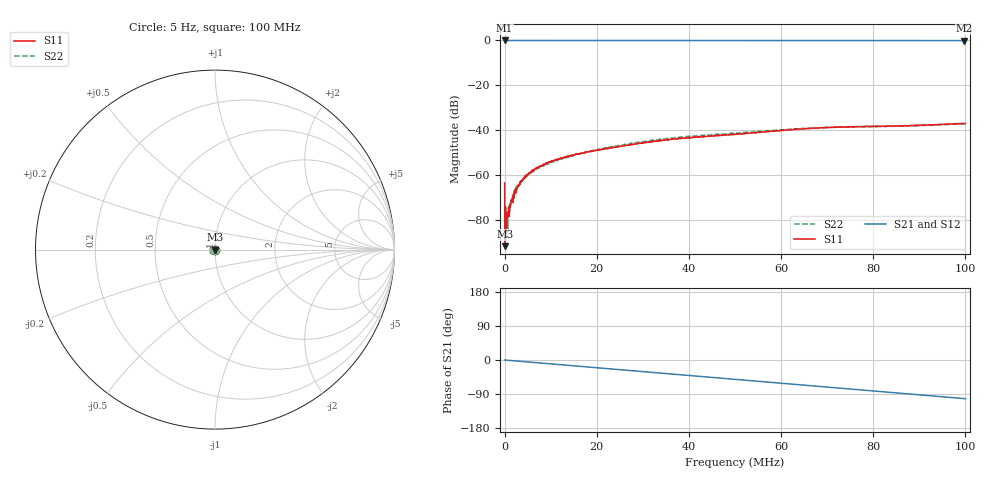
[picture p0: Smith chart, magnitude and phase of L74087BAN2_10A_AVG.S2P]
!Agilent Technologies,E5061B,MY49102235,A.02.00
!Date: Mon Jul 10 16:48:22 2023
!Data & Calibration Information:
!Freq	S11:SOLT2(ON)	S21:SOLT2(ON)	S12:SOLT2(ON)	S22:SOLT2(ON)
# Hz S RI R 50
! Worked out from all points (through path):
!   1600 points, 5 Hz to 100 MHz, reference 50 ohm
!   highest |S21| = 0.02 dB at 5 Hz (marker M1); lowest = -0.1 dB at 99.75 MHz (marker M2)
!   group delay of S21, straight-line fit = 2.84 ns
!   lowest |S11| = -91.7 dB at 125.1 kHz (marker M3), VSWR 1.00, Z = 50 - j0.00111 ohm
!   |S11| at or under -10 dB: start of sweep to end of sweep
!   |S22| runs from -89.0 to -37.1 dB; largest |S21 - S12| = 0.0026
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5  -0.000504 0.00044  1.002 0.00226  1.001 -1.56e-05  -0.000142 -6.23e-05
125083.2  -2.34e-05 -1.11e-05  1 -0.0024  1 -0.00227  -4.49e-05 -2.08e-05
250161.3  4.25e-05 2.7e-05  0.9998 -0.00457  0.9997 -0.00442  3.86e-05 1.57e-05
562856.8  0.000136 -3.26e-06  0.9997 -0.0102  0.9996 -0.0099  6.52e-05 -3.73e-05
813013.1  -5.76e-05 -0.000118  1 -0.0146  0.9991 -0.0141  -6.75e-05 -0.000166
1250787  -4.69e-05 -0.000196  0.9998 -0.0226  0.9991 -0.0219  -1.43e-05 -0.000194
1813638  -5.17e-05 -0.000305  1 -0.0322  0.9991 -0.0321  -3.81e-05 -0.000306
2439029  -2.38e-05 -0.000489  0.999 -0.0434  0.9986 -0.0433  -3.63e-05 -0.000528
3564733  1.05e-05 -0.000706  0.9981 -0.0637  0.9978 -0.0633  3.91e-06 -0.00072
5315827  2.66e-06 -0.00109  0.9954 -0.0947  0.9954 -0.0944  -3.41e-05 -0.00104
6691687  -3.87e-05 -0.00141  0.9929 -0.119  0.9925 -0.1188  -0.00015 -0.00127
9380868  -0.000147 -0.00184  0.986 -0.1665  0.9858 -0.166  -0.000184 -0.00175
1.282052e7  -0.000263 -0.00245  0.9739 -0.2264  0.9739 -0.2263  -0.000232 -0.00235
1.669794e7  -0.000521 -0.00302  0.9559 -0.2929  0.9559 -0.2928  -0.000414 -0.00303
2.445279e7  -0.00127 -0.00401  0.9066 -0.4217  0.9062 -0.4217  -0.00115 -0.00435
3.333334e7  -0.00245 -0.00521  0.8284 -0.5592  0.8284 -0.5588  -0.00224 -0.00577
4.046279e7  -0.00324 -0.00595  0.7506 -0.6594  0.7507 -0.6591  -0.00349 -0.0065
5.003127e7  -0.00478 -0.00655  0.6276 -0.7767  0.6276 -0.7765  -0.00515 -0.00693
6.672921e7  -0.00838 -0.0072  0.3716 -0.9256  0.3716 -0.9252  -0.00851 -0.00719
8.33646e7  -0.0104 -0.0066  0.0843 -0.9922  0.0846 -0.9918  -0.0104 -0.00632
9.974984e7  -0.0134 -0.00456  -0.205 -0.9723  -0.2049 -0.9723  -0.013 -0.00454
1e8  -0.0134 -0.00446  -0.2093 -0.9715  -0.2092 -0.9714  -0.0132 -0.00453
